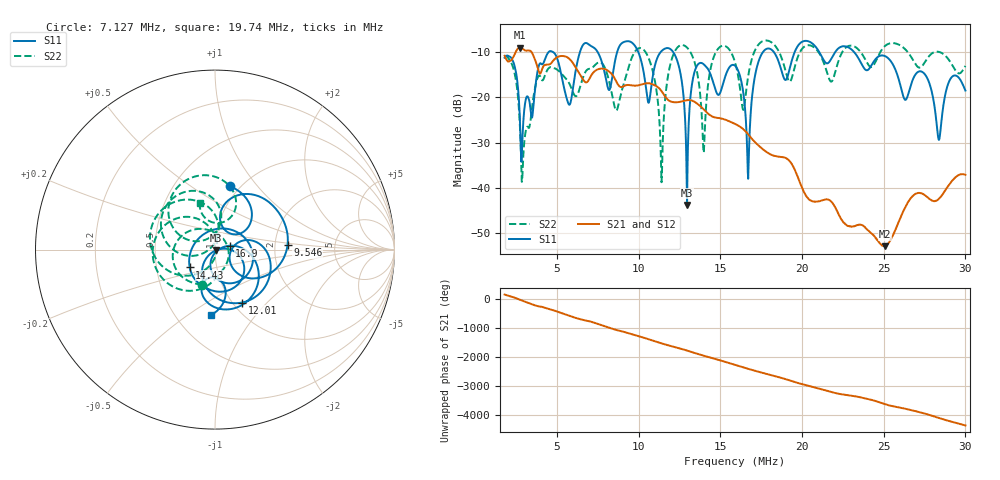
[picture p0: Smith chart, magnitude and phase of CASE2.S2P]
!Agilent Technologies,E5061B,MY49101568,A.02.00
!Date: Wed Mar 01 15:26:33 2023
!Data & Calibration Information:
!Freq	S11:SOLT2(OFF)	S21:SOLT2(OFF)	S12:SOLT2(OFF)	S22:SOLT2(OFF)
# Hz S dB R 50
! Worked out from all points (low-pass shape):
!   1155 points, 1.8 MHz to 30 MHz, reference 50 ohm
!   highest |S21| = -9.10 dB at 2.729 MHz (marker M1); lowest = -52.8 dB at 25.09 MHz (marker M2)
!   |S21| within 3 dB of the highest: 2.074 MHz to 3.7 MHz (1.627 MHz wide, 56.3 % of centre); 4.734 MHz to 5.903 MHz (1.169 MHz wide, 22 % of centre)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
!   lowest |S11| = -43.7 dB at 12.97 MHz (marker M3), VSWR 1.01, Z = 50.5 - j0.429 ohm
!   |S11| at or under -10 dB: start of sweep to 4.505 MHz; 12.11 MHz to 17.62 MHz (5.511 MHz wide, 37.1 % of centre); 23.18 MHz to end of sweep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
!   |S22| runs from -38.7 to -7.5 dB; largest |S21 - S12| = 0.0045
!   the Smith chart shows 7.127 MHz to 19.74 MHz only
!   S11 on the Smith chart (normalised r, x): 7.127 MHz: 0.90, +0.73; 9.546 MHz: 2.35, +0.14; 12.01 MHz: 1.10, -0.73; 14.43 MHz: 0.74, -0.15; 16.9 MHz: 1.17, +0.05; 19.74 MHz: 0.73, -0.62
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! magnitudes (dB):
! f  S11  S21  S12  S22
! 1.8 MHz  -11.3  -10.9  -10.8  -11.1
! 2.729 MHz  -24.3  -9.1  -9.1  -25.7
! 6.516 MHz  -9.0  -15.6  -15.6  -16.6
! 7.127 MHz  -8.8  -15.1  -14.9  -13.6
! 8.642 MHz  -10.6  -16.6  -16.5  -22.9
! 9.546 MHz  -7.9  -17.4  -17.4  -11.6
! 10.6 MHz  -21.2  -16.9  -17.0  -11.2
! 11.21 MHz  -10.8  -17.9  -17.9  -22.0
! 11.43 MHz  -9.7  -18.8  -18.8  -36.8
! 12.01 MHz  -9.6  -21.0  -21.1  -11.8
! 12.97 MHz  -43.7  -20.7  -20.7  -9.1
! 13.97 MHz  -12.7  -22.6  -22.7  -32.2
! 14.43 MHz  -15.3  -24.1  -24.1  -13.2
! 15.9 MHz  -13.1  -25.9  -25.9  -12.3
! 16.68 MHz  -36.4  -28.1  -28.1  -15.9
! 16.9 MHz  -21.5  -29.0  -29.1  -12.0
! 19.74 MHz  -8.7  -37.5  -37.6  -11.2
! 20.62 MHz  -8.1  -42.9  -42.9  -8.7
! 25.09 MHz  -10.9  -52.8  -52.7  -8.7
! 25.31 MHz  -11.5  -52.1  -52.0  -8.2
! 28.36 MHz  -29.3  -42.5  -42.4  -10.0
! 30 MHz  -18.5  -37.1  -37.1  -13.1
